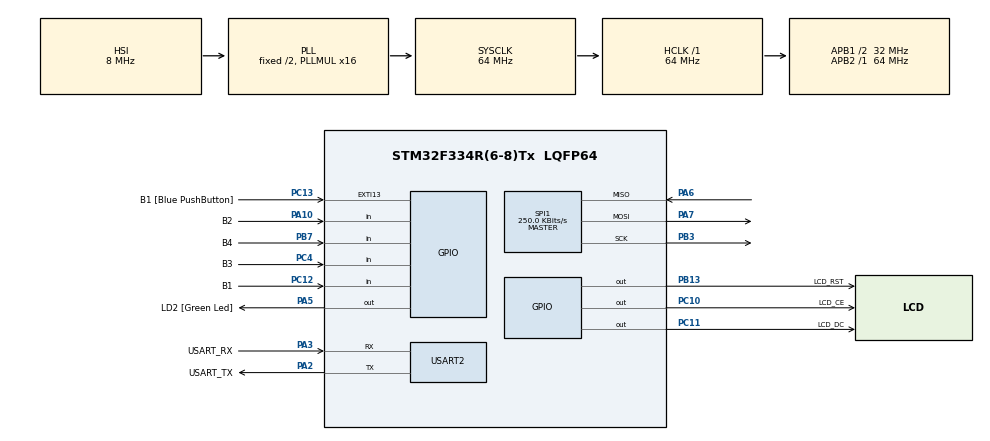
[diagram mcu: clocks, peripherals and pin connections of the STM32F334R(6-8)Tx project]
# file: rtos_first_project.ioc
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FREERTOS.Mutexes01=MutexButtons,Dynamic,NULL;MutexTimer,Dynamic,NULL
FREERTOS.Tasks01=Task1,0,256,StartTask1,Default,NULL,Dynamic,NULL,NULL;Task2,3,256,StartTask02,Default,NULL,Dynamic,NULL,NULL;Task03,-3,256,StartTask03,Default,NULL,Dynamic,NULL,NULL
FREERTOS.configMINIMAL_STACK_SIZE=256
FREERTOS.configTOTAL_HEAP_SIZE=5000
Mcu.Family=STM32F3
Mcu.Name=STM32F334R(6-8)Tx
Mcu.Package=LQFP64
NVIC.PriorityGroup=NVIC_PRIORITYGROUP_4
PA10.GPIO_Label=B2
PA10.Signal=GPIO_Input
PA13.GPIO_Label=TMS
PA13.Mode=Serial_Wire
PA13.Signal=SYS_JTMS-SWDIO
PA14.GPIO_Label=TCK
PA14.Mode=Serial_Wire
PA14.Signal=SYS_JTCK-SWCLK
PA2.GPIO_Label=USART_TX
PA2.Mode=Asynchronous
PA2.Signal=USART2_TX
PA3.GPIO_Label=USART_RX
PA3.Mode=Asynchronous
PA3.Signal=USART2_RX
PA5.GPIO_Label=LD2 [Green Led]
PA5.Signal=GPIO_Output
PA6.Mode=Full_Duplex_Master
PA6.Signal=SPI1_MISO
PA7.Mode=Full_Duplex_Master
PA7.Signal=SPI1_MOSI
PB13.GPIO_Label=LCD_RST
PB13.Signal=GPIO_Output
PB3.Mode=Full_Duplex_Master
PB3.Signal=SPI1_SCK
PB7.GPIO_Label=B4
PB7.Signal=GPIO_Input
PC10.GPIO_Label=LCD_CE
PC10.Signal=GPIO_Output
PC11.GPIO_Label=LCD_DC
PC11.Signal=GPIO_Output
PC12.GPIO_Label=B1
PC12.Signal=GPIO_Input
PC13.GPIO_Label=B1 [Blue PushButton]
PC13.GPIO_ModeDefaultEXTI=GPIO_MODE_IT_FALLING
PC13.Signal=GPXTI13
PC14\ /\ OSC32_IN.Mode=LSE-External-Oscillator
PC14\ /\ OSC32_IN.Signal=RCC_OSC32_IN
PC15\ /\ OSC32_OUT.GPIO_Label=RCC_OSC32_OUT
PC15\ /\ OSC32_OUT.Mode=LSE-External-Oscillator
PC15\ /\ OSC32_OUT.Signal=RCC_OSC32_OUT
PC4.GPIO_Label=B3
PC4.Signal=GPIO_Input
PF0\ /\ OSC_IN.Mode=HSE-External-Clock-Source
PF0\ /\ OSC_IN.Signal=RCC_OSC_IN
PF1\ /\ OSC_OUT.Signal=RCC_OSC_OUT
ProjectManager.HeapSize=0x200
ProjectManager.StackSize=0x400
ProjectManager.TargetToolchain=STM32CubeIDE
RCC.AHBFreq_Value=64000000
RCC.APB1CLKDivider=RCC_HCLK_DIV2
RCC.APB1Freq_Value=32000000
RCC.APB1TimFreq_Value=64000000
RCC.APB2Freq_Value=64000000
RCC.APB2TimFreq_Value=64000000
RCC.CortexFreq_Value=64000000
RCC.FLatency-AdvancedSettings=FLASH_LATENCY_2
RCC.HCLKFreq_Value=64000000
RCC.HSE_VALUE=8000000
RCC.HSI_VALUE=8000000
RCC.PLLMUL=RCC_PLL_MUL16
RCC.SYSCLKFreq_VALUE=64000000
RCC.SYSCLKSourceVirtual=RCC_SYSCLKSOURCE_PLLCLK
SPI1.BaudRatePrescaler=SPI_BAUDRATEPRESCALER_256
SPI1.CalculateBaudRate=250.0 KBits/s
SPI1.DataSize=SPI_DATASIZE_8BIT
SPI1.Direction=SPI_DIRECTION_2LINES
SPI1.Mode=SPI_MODE_MASTER
SPI1.VirtualType=VM_MASTER
USART2.VirtualMode-Asynchronous=VM_ASYNC
VP_FREERTOS_VS_CMSIS_V1.Mode=CMSIS_V1
board=NUCLEO-F334R8

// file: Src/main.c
/* USER CODE BEGIN Header */
/**
  ******************************************************************************
  * @file           : main.c
  * @brief          : Main program body
  ******************************************************************************
  * @attention
  *
  * <h2><center>&copy; Copyright (c) 2019 STMicroelectronics.
  * All rights reserved.</center></h2>
  *
  * This software component is licensed by ST under BSD 3-Clause license,
  * the "License"; You may not use this file except in compliance with the
  * License. You may obtain a copy of the License at:
  *                        opensource.org/licenses/BSD-3-Clause
  *
  ******************************************************************************
  */
/* USER CODE END Header */

#include "main.h"
#include "cmsis_os.h"

/* USER CODE BEGIN Includes */
#include "stm32f3xx_hal.h"
#include "user_5110.h"
/* USER CODE END Includes */

SPI_HandleTypeDef hspi1;

UART_HandleTypeDef huart2;

osThreadId Task1Handle;
osThreadId Task2Handle;
osThreadId Task03Handle;
osMutexId MutexButtonsHandle;
osMutexId MutexTimerHandle;
/* USER CODE BEGIN PV */
uint8_t buttonTest = 0;
uint8_t timer[50] = "";

/* USER CODE END PV */

void SystemClock_Config(void);
static void MX_GPIO_Init(void);
static void MX_USART2_UART_Init(void);
static void MX_SPI1_Init(void);
void StartTask1(void const * argument);
void StartTask02(void const * argument);
void StartTask03(void const * argument);

/* USER CODE BEGIN PFP */

//Reimplementa��o das fun��es para direcionar o printf para a UART2
int __io_putchar(int ch) {
	uint8_t c[1];
	c[0] = ch & 0x00FF;
	HAL_UART_Transmit(&huart2, &*c, 1, 10);
	return ch;
}

int _write(int file,char *ptr, int len){
	int DataIdx;
	for(DataIdx= 0; DataIdx< len; DataIdx++) {
		__io_putchar(*ptr++);
	}
	return len;
}

/* USER CODE END PFP */

int main(void)
{

  /* MCU Configuration--------------------------------------------------------*/

  /* Reset of all peripherals, Initializes the Flash interface and the Systick. */
  HAL_Init();

  /* Configure the system clock */
  SystemClock_Config();

  /* Initialize all configured peripherals */
  MX_GPIO_Init();
  MX_USART2_UART_Init();
  MX_SPI1_Init();
  /* USER CODE BEGIN 2 */

  LCD_Init();

  LCD_Write_String(0, 0, "Inicio do programa");
  /* USER CODE END 2 */

  /* Create the mutex(es) */
  /* definition and creation of MutexButtons */
  osMutexDef(MutexButtons);
  MutexButtonsHandle = osMutexCreate(osMutex(MutexButtons));

  /* definition and creation of MutexTimer */
  osMutexDef(MutexTimer);
  MutexTimerHandle = osMutexCreate(osMutex(MutexTimer));

  /* Create the thread(s) */
  /* definition and creation of Task1 */
  osThreadDef(Task1, StartTask1, osPriorityNormal, 0, 256);
  Task1Handle = osThreadCreate(osThread(Task1), NULL);

  /* definition and creation of Task2 */
  osThreadDef(Task2, StartTask02, osPriorityRealtime, 0, 256);
  Task2Handle = osThreadCreate(osThread(Task2), NULL);

  /* definition and creation of Task03 */
  osThreadDef(Task03, StartTask03, osPriorityIdle, 0, 256);
  Task03Handle = osThreadCreate(osThread(Task03), NULL);

  /* USER CODE BEGIN RTOS_THREADS */
  /* add threads, ... */
  printf("Program Ready");
  HAL_UART_Transmit(&huart2, "inicio", 6, 1000);
  /* USER CODE END RTOS_THREADS */

  /* Start scheduler */
  osKernelStart();

  /* We should never get here as control is now taken by the scheduler */

  /* Infinite loop */
  while (1)
  {

  }
}

void SystemClock_Config(void)
{
  RCC_OscInitTypeDef RCC_OscInitStruct = {0};
  RCC_ClkInitTypeDef RCC_ClkInitStruct = {0};

  /** Initializes the CPU, AHB and APB busses clocks
  */
  RCC_OscInitStruct.OscillatorType = RCC_OSCILLATORTYPE_HSI;
  RCC_OscInitStruct.HSIState = RCC_HSI_ON;
  RCC_OscInitStruct.HSICalibrationValue = RCC_HSICALIBRATION_DEFAULT;
  RCC_OscInitStruct.PLL.PLLState = RCC_PLL_ON;
  RCC_OscInitStruct.PLL.PLLSource = RCC_PLLSOURCE_HSI;
  RCC_OscInitStruct.PLL.PLLMUL = RCC_PLL_MUL16;
  if (HAL_RCC_OscConfig(&RCC_OscInitStruct) != HAL_OK)
  {
    Error_Handler();
  }
  /** Initializes the CPU, AHB and APB busses clocks
  */
  RCC_ClkInitStruct.ClockType = RCC_CLOCKTYPE_HCLK|RCC_CLOCKTYPE_SYSCLK
                              |RCC_CLOCKTYPE_PCLK1|RCC_CLOCKTYPE_PCLK2;
  RCC_ClkInitStruct.SYSCLKSource = RCC_SYSCLKSOURCE_PLLCLK;
  RCC_ClkInitStruct.AHBCLKDivider = RCC_SYSCLK_DIV1;
  RCC_ClkInitStruct.APB1CLKDivider = RCC_HCLK_DIV2;
  RCC_ClkInitStruct.APB2CLKDivider = RCC_HCLK_DIV1;

  if (HAL_RCC_ClockConfig(&RCC_ClkInitStruct, FLASH_LATENCY_2) != HAL_OK)
  {
    Error_Handler();
  }
}

static void MX_SPI1_Init(void)
{

  /* SPI1 parameter configuration*/
  hspi1.Instance = SPI1;
  hspi1.Init.Mode = SPI_MODE_MASTER;
  hspi1.Init.Direction = SPI_DIRECTION_2LINES;
  hspi1.Init.DataSize = SPI_DATASIZE_8BIT;
  hspi1.Init.CLKPolarity = SPI_POLARITY_LOW;
  hspi1.Init.CLKPhase = SPI_PHASE_1EDGE;
  hspi1.Init.NSS = SPI_NSS_SOFT;
  hspi1.Init.BaudRatePrescaler = SPI_BAUDRATEPRESCALER_256;
  hspi1.Init.FirstBit = SPI_FIRSTBIT_MSB;
  hspi1.Init.TIMode = SPI_TIMODE_DISABLE;
  hspi1.Init.CRCCalculation = SPI_CRCCALCULATION_DISABLE;
  hspi1.Init.CRCPolynomial = 7;
  hspi1.Init.CRCLength = SPI_CRC_LENGTH_DATASIZE;
  hspi1.Init.NSSPMode = SPI_NSS_PULSE_ENABLE;
  if (HAL_SPI_Init(&hspi1) != HAL_OK)
  {
    Error_Handler();
  }

}

static void MX_USART2_UART_Init(void)
{

  huart2.Instance = USART2;
  huart2.Init.BaudRate = 38400;
  huart2.Init.WordLength = UART_WORDLENGTH_8B;
  huart2.Init.StopBits = UART_STOPBITS_1;
  huart2.Init.Parity = UART_PARITY_NONE;
  huart2.Init.Mode = UART_MODE_TX_RX;
  huart2.Init.HwFlowCtl = UART_HWCONTROL_NONE;
  huart2.Init.OverSampling = UART_OVERSAMPLING_16;
  huart2.Init.OneBitSampling = UART_ONE_BIT_SAMPLE_DISABLE;
  huart2.AdvancedInit.AdvFeatureInit = UART_ADVFEATURE_NO_INIT;
  if (HAL_UART_Init(&huart2) != HAL_OK)
  {
    Error_Handler();
  }

}

static void MX_GPIO_Init(void)
{
  GPIO_InitTypeDef GPIO_InitStruct = {0};

  /* GPIO Ports Clock Enable */
  __HAL_RCC_GPIOC_CLK_ENABLE();
  __HAL_RCC_GPIOF_CLK_ENABLE();
  __HAL_RCC_GPIOA_CLK_ENABLE();
  __HAL_RCC_GPIOB_CLK_ENABLE();

  /*Configure GPIO pin Output Level */
  HAL_GPIO_WritePin(LD2_GPIO_Port, LD2_Pin, GPIO_PIN_RESET);

  /*Configure GPIO pin Output Level */
  HAL_GPIO_WritePin(LCD_RST_GPIO_Port, LCD_RST_Pin, GPIO_PIN_RESET);

  /*Configure GPIO pin Output Level */
  HAL_GPIO_WritePin(GPIOC, LCD_CE_Pin|LCD_DC_Pin, GPIO_PIN_RESET);

  /*Configure GPIO pin : B1_Pin */
  GPIO_InitStruct.Pin = B1_Pin;
  GPIO_InitStruct.Mode = GPIO_MODE_IT_FALLING;
  GPIO_InitStruct.Pull = GPIO_NOPULL;
  HAL_GPIO_Init(B1_GPIO_Port, &GPIO_InitStruct);

  /*Configure GPIO pin : LD2_Pin */
  GPIO_InitStruct.Pin = LD2_Pin;
  GPIO_InitStruct.Mode = GPIO_MODE_OUTPUT_PP;
  GPIO_InitStruct.Pull = GPIO_NOPULL;
  GPIO_InitStruct.Speed = GPIO_SPEED_FREQ_LOW;
  HAL_GPIO_Init(LD2_GPIO_Port, &GPIO_InitStruct);

  /*Configure GPIO pins : B3_Pin B1C12_Pin */
  GPIO_InitStruct.Pin = B3_Pin|B1C12_Pin;
  GPIO_InitStruct.Mode = GPIO_MODE_INPUT;
  GPIO_InitStruct.Pull = GPIO_NOPULL;
  HAL_GPIO_Init(GPIOC, &GPIO_InitStruct);

  /*Configure GPIO pin : LCD_RST_Pin */
  GPIO_InitStruct.Pin = LCD_RST_Pin;
  GPIO_InitStruct.Mode = GPIO_MODE_OUTPUT_PP;
  GPIO_InitStruct.Pull = GPIO_NOPULL;
  GPIO_InitStruct.Speed = GPIO_SPEED_FREQ_LOW;
  HAL_GPIO_Init(LCD_RST_GPIO_Port, &GPIO_InitStruct);

  /*Configure GPIO pin : B2_Pin */
  GPIO_InitStruct.Pin = B2_Pin;
  GPIO_InitStruct.Mode = GPIO_MODE_INPUT;
  GPIO_InitStruct.Pull = GPIO_NOPULL;
  HAL_GPIO_Init(B2_GPIO_Port, &GPIO_InitStruct);

  /*Configure GPIO pins : LCD_CE_Pin LCD_DC_Pin */
  GPIO_InitStruct.Pin = LCD_CE_Pin|LCD_DC_Pin;
  GPIO_InitStruct.Mode = GPIO_MODE_OUTPUT_PP;
  GPIO_InitStruct.Pull = GPIO_NOPULL;
  GPIO_InitStruct.Speed = GPIO_SPEED_FREQ_LOW;
  HAL_GPIO_Init(GPIOC, &GPIO_InitStruct);

  /*Configure GPIO pin : B4_Pin */
  GPIO_InitStruct.Pin = B4_Pin;
  GPIO_InitStruct.Mode = GPIO_MODE_INPUT;
  GPIO_InitStruct.Pull = GPIO_NOPULL;
  HAL_GPIO_Init(B4_GPIO_Port, &GPIO_InitStruct);

}

void StartTask1(void const * argument)
{
  /* USER CODE BEGIN 5 */
	int leitura = 0;
  /* Infinite loop */
  for(;;)
  {
	  osMutexWait(MutexButtonsHandle,1000);
	  leitura =buttonTest;
	  osMutexRelease(MutexButtonsHandle);

	  if(leitura == 0) {
		  if(HAL_GPIO_ReadPin(B1_GPIO_Port, B1_Pin) == 0) {
			  leitura = 1;
		  }

		  if(HAL_GPIO_ReadPin(B2_GPIO_Port, B2_Pin) == 0) {
			  leitura = 2;
		  }

		  if(HAL_GPIO_ReadPin(B3_GPIO_Port, B3_Pin) == 0) {
			  leitura = 3;
		  }

		  if(HAL_GPIO_ReadPin(B4_GPIO_Port, B4_Pin) == 0) {
			  leitura = 4;
		  }

		  osMutexWait(MutexButtonsHandle,1000);
		  buttonTest = leitura;
		  osMutexRelease(MutexButtonsHandle);
	  }
	  osDelay(10);

  }
  /* USER CODE END 5 */
}

void StartTask02(void const * argument)
{
  /* USER CODE BEGIN StartTask02 */
  int second = 0;
  int minute = 0;
  int hour = 0;
  int working = 1;
  uint8_t lapse1[12] = "";
  uint8_t lapse2[12] = "";
  int localButtonClicked = 0;
  /* Infinite loop */
  for(;;)
  {
	  osMutexWait(MutexButtonsHandle, 1000);
	  localButtonClicked =buttonTest;
	  osMutexRelease(MutexButtonsHandle);

	  switch (localButtonClicked) {
	  case 1:
		  second = 0;
		  minute = 0;
		  hour = 0;
		  sprintf(lapse1, "00:00:00\r\n");
		  sprintf(lapse2, "00:00:00\r\n");
		  working = 0;
		  localButtonClicked = 0;
		  break;
	  case 2:
		  if(working == 1)
			  working = 0;
		  else
			  working = 1;
		  localButtonClicked = 0;
		  break;
	  case 3:
		  sprintf(lapse1, "%d:%d:%d", hour, minute, second);
		  localButtonClicked = 0;
		  break;
	  case 4:
		  sprintf(lapse2, "%d:%d:%d", hour, minute, second);
		  localButtonClicked = 0;
		  break;
	  default:
	    if(working == 0)
		  break;
		if(second == 59) {
			second = 0;
			minute ++;
			if(minute == 59) {
				  minute = 0;
				  hour ++;
				if(hour == 59) {
				  hour = 0;
				}
			}
		}
		second ++;

		osMutexWait(MutexTimerHandle, 1000);
		sprintf(timer, "%d:%d:%d\r\n%s\r\n%s", hour, minute, second, lapse1, lapse2);
		osMutexRelease(MutexTimerHandle);
		osDelay(10);
		break;
	  }

	  osMutexWait(MutexButtonsHandle, 1000);
	 buttonTest = localButtonClicked;
	  osMutexRelease(MutexButtonsHandle);
  }
  /* USER CODE END StartTask02 */
}

void StartTask03(void const * argument)
{
  /* USER CODE BEGIN StartTask03 */
  /* Infinite loop */
  for(;;)
  {

	  osMutexWait(MutexButtonsHandle, 1000);
	  buttonTest = 1;
	  osMutexRelease(MutexButtonsHandle);
	osMutexWait(MutexTimerHandle, 1000);
	HAL_UART_Transmit(&huart2, timer, strlen(timer), 1000);
	osMutexRelease(MutexTimerHandle);

    osDelay(1000);
  }
  /* USER CODE END StartTask03 */
}

void Error_Handler(void)
{
}

/************************ (C) COPYRIGHT STMicroelectronics *****END OF FILE****/
